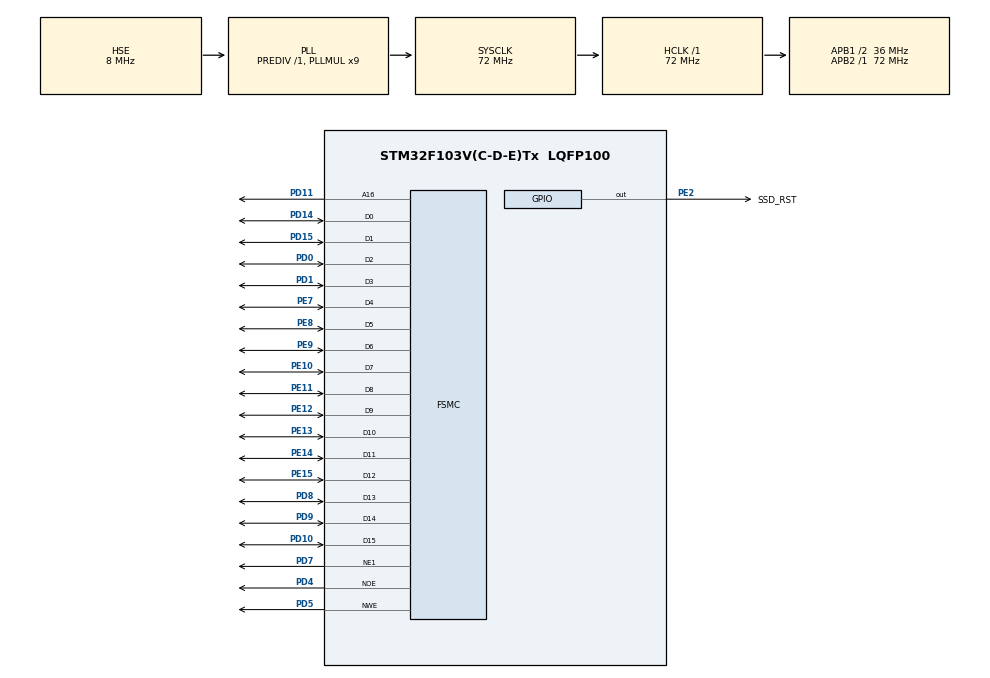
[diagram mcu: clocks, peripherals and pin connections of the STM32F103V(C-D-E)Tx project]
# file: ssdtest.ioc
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Mcu.Family=STM32F1
Mcu.Name=STM32F103V(C-D-E)Tx
Mcu.Package=LQFP100
NVIC.PriorityGroup=NVIC_PRIORITYGROUP_4
OSC_IN.Mode=HSE-External-Oscillator
OSC_IN.Signal=RCC_OSC_IN
OSC_OUT.Mode=HSE-External-Oscillator
OSC_OUT.Signal=RCC_OSC_OUT
PA13.Mode=Serial_Wire
PA13.Signal=SYS_JTMS-SWDIO
PA14.Mode=Serial_Wire
PA14.Signal=SYS_JTCK-SWCLK
PD0.Mode=16b-d1
PD0.Signal=FSMC_D2
PD1.Mode=16b-d1
PD1.Signal=FSMC_D3
PD10.Mode=16b-d1
PD10.Signal=FSMC_D15
PD11.Mode=A16_1
PD11.Signal=FSMC_A16
PD14.Mode=16b-d1
PD14.Signal=FSMC_D0
PD15.Mode=16b-d1
PD15.Signal=FSMC_D1
PD4.Mode=Lcd1
PD4.Signal=FSMC_NOE
PD5.Mode=Lcd1
PD5.Signal=FSMC_NWE
PD7.Mode=NorPsramChipSelect1_1
PD7.Signal=FSMC_NE1
PD8.Mode=16b-d1
PD8.Signal=FSMC_D13
PD9.Mode=16b-d1
PD9.Signal=FSMC_D14
PE10.Mode=16b-d1
PE10.Signal=FSMC_D7
PE11.Mode=16b-d1
PE11.Signal=FSMC_D8
PE12.Mode=16b-d1
PE12.Signal=FSMC_D9
PE13.Mode=16b-d1
PE13.Signal=FSMC_D10
PE14.Mode=16b-d1
PE14.Signal=FSMC_D11
PE15.Mode=16b-d1
PE15.Signal=FSMC_D12
PE2.GPIO_Label=SSD_RST
PE2.Signal=GPIO_Output
PE7.Mode=16b-d1
PE7.Signal=FSMC_D4
PE8.Mode=16b-d1
PE8.Signal=FSMC_D5
PE9.Mode=16b-d1
PE9.Signal=FSMC_D6
ProjectManager.HeapSize=0x200
ProjectManager.StackSize=0x400
ProjectManager.TargetToolchain=MDK-ARM V5
RCC.AHBFreq_Value=72000000
RCC.APB1CLKDivider=RCC_HCLK_DIV2
RCC.APB1Freq_Value=36000000
RCC.APB1TimFreq_Value=72000000
RCC.APB2Freq_Value=72000000
RCC.APB2TimFreq_Value=72000000
RCC.HCLKFreq_Value=72000000
RCC.PLLMUL=RCC_PLL_MUL9
RCC.PLLSourceVirtual=RCC_PLLSOURCE_HSE
RCC.SYSCLKFreq_VALUE=72000000
RCC.SYSCLKSource=RCC_SYSCLKSOURCE_PLLCLK
RCC.USBFreq_Value=72000000
board=custom

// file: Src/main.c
/* USER CODE BEGIN Header */
/**
  ******************************************************************************
  * @file           : main.c
  * @brief          : Main program body
  ******************************************************************************
  * @attention
  *
  * <h2><center>&copy; Copyright (c) 2019 STMicroelectronics.
  * All rights reserved.</center></h2>
  *
  * This software component is licensed by ST under BSD 3-Clause license,
  * the "License"; You may not use this file except in compliance with the
  * License. You may obtain a copy of the License at:
  *                        opensource.org/licenses/BSD-3-Clause
  *
  ******************************************************************************
  */
/* USER CODE END Header */

#include "main.h"

SRAM_HandleTypeDef hsram1;

void SystemClock_Config(void);
static void MX_GPIO_Init(void);
static void MX_FSMC_Init(void);
/* USER CODE BEGIN PFP */
void LCD_clear(uint16_t data);
void STM3210E_LCD_Init(void);
void LcdWriteReg(uint16_t Data);
/* USER CODE END PFP */

int main(void)
{

  /* MCU Configuration--------------------------------------------------------*/

  /* Reset of all peripherals, Initializes the Flash interface and the Systick. */
  HAL_Init();

  /* Configure the system clock */
  SystemClock_Config();

  /* Initialize all configured peripherals */
  MX_GPIO_Init();
  MX_FSMC_Init();
  /* USER CODE BEGIN 2 */
	HAL_GPIO_WritePin(SSD_RST_GPIO_Port,SSD_RST_Pin,0);
	HAL_Delay(100);
	HAL_GPIO_WritePin(SSD_RST_GPIO_Port,SSD_RST_Pin,1);
	HAL_Delay(100);

	STM3210E_LCD_Init();
	LCD_clear(0xf800);

  /* USER CODE END 2 */

  /* Infinite loop */
  while (1)
  {

    /* USER CODE BEGIN 3 */
		LCD_clear(0xf800);
  	HAL_Delay(1000);
  	LCD_clear(0x7e0);
   	HAL_Delay(1000);
		LCD_clear(0x1f);
		HAL_Delay(1000);
//	LcdWriteReg(0x0029);
  }
  /* USER CODE END 3 */
}

void SystemClock_Config(void)
{
  RCC_OscInitTypeDef RCC_OscInitStruct = {0};
  RCC_ClkInitTypeDef RCC_ClkInitStruct = {0};

  /** Initializes the CPU, AHB and APB busses clocks
  */
  RCC_OscInitStruct.OscillatorType = RCC_OSCILLATORTYPE_HSE;
  RCC_OscInitStruct.HSEState = RCC_HSE_ON;
  RCC_OscInitStruct.HSEPredivValue = RCC_HSE_PREDIV_DIV1;
  RCC_OscInitStruct.HSIState = RCC_HSI_ON;
  RCC_OscInitStruct.PLL.PLLState = RCC_PLL_ON;
  RCC_OscInitStruct.PLL.PLLSource = RCC_PLLSOURCE_HSE;
  RCC_OscInitStruct.PLL.PLLMUL = RCC_PLL_MUL9;
  if (HAL_RCC_OscConfig(&RCC_OscInitStruct) != HAL_OK)
  {
    Error_Handler();
  }
  /** Initializes the CPU, AHB and APB busses clocks
  */
  RCC_ClkInitStruct.ClockType = RCC_CLOCKTYPE_HCLK|RCC_CLOCKTYPE_SYSCLK
                              |RCC_CLOCKTYPE_PCLK1|RCC_CLOCKTYPE_PCLK2;
  RCC_ClkInitStruct.SYSCLKSource = RCC_SYSCLKSOURCE_PLLCLK;
  RCC_ClkInitStruct.AHBCLKDivider = RCC_SYSCLK_DIV1;
  RCC_ClkInitStruct.APB1CLKDivider = RCC_HCLK_DIV2;
  RCC_ClkInitStruct.APB2CLKDivider = RCC_HCLK_DIV1;

  if (HAL_RCC_ClockConfig(&RCC_ClkInitStruct, FLASH_LATENCY_2) != HAL_OK)
  {
    Error_Handler();
  }
}

static void MX_GPIO_Init(void)
{
  GPIO_InitTypeDef GPIO_InitStruct = {0};

  /* GPIO Ports Clock Enable */
  __HAL_RCC_GPIOE_CLK_ENABLE();
  __HAL_RCC_GPIOD_CLK_ENABLE();
  __HAL_RCC_GPIOA_CLK_ENABLE();

  /*Configure GPIO pin Output Level */
  HAL_GPIO_WritePin(SSD_RST_GPIO_Port, SSD_RST_Pin, GPIO_PIN_RESET);

  /*Configure GPIO pin : SSD_RST_Pin */
  GPIO_InitStruct.Pin = SSD_RST_Pin;
  GPIO_InitStruct.Mode = GPIO_MODE_OUTPUT_PP;
  GPIO_InitStruct.Pull = GPIO_NOPULL;
  GPIO_InitStruct.Speed = GPIO_SPEED_FREQ_LOW;
  HAL_GPIO_Init(SSD_RST_GPIO_Port, &GPIO_InitStruct);

}

/* FSMC initialization function */
static void MX_FSMC_Init(void)
{

  FSMC_NORSRAM_TimingTypeDef Timing = {0};

  /** Perform the SRAM1 memory initialization sequence
  */
  hsram1.Instance = FSMC_NORSRAM_DEVICE;
  hsram1.Extended = FSMC_NORSRAM_EXTENDED_DEVICE;
  /* hsram1.Init */
  hsram1.Init.NSBank = FSMC_NORSRAM_BANK1;
  hsram1.Init.DataAddressMux = FSMC_DATA_ADDRESS_MUX_DISABLE;
  hsram1.Init.MemoryType = FSMC_MEMORY_TYPE_SRAM;
  hsram1.Init.MemoryDataWidth = FSMC_NORSRAM_MEM_BUS_WIDTH_16;
  hsram1.Init.BurstAccessMode = FSMC_BURST_ACCESS_MODE_DISABLE;
  hsram1.Init.WaitSignalPolarity = FSMC_WAIT_SIGNAL_POLARITY_LOW;
  hsram1.Init.WrapMode = FSMC_WRAP_MODE_DISABLE;
  hsram1.Init.WaitSignalActive = FSMC_WAIT_TIMING_BEFORE_WS;
  hsram1.Init.WriteOperation = FSMC_WRITE_OPERATION_ENABLE;
  hsram1.Init.WaitSignal = FSMC_WAIT_SIGNAL_DISABLE;
  hsram1.Init.ExtendedMode = FSMC_EXTENDED_MODE_DISABLE;
  hsram1.Init.AsynchronousWait = FSMC_ASYNCHRONOUS_WAIT_DISABLE;
  hsram1.Init.WriteBurst = FSMC_WRITE_BURST_DISABLE;
  /* Timing */
  Timing.AddressSetupTime = 0x02;
  Timing.AddressHoldTime = 0xa;
  Timing.DataSetupTime = 0xa;
  Timing.BusTurnAroundDuration = 0;
  Timing.CLKDivision = 0;
  Timing.DataLatency = 0;
  Timing.AccessMode = FSMC_ACCESS_MODE_B;
  /* ExtTiming */

  if (HAL_SRAM_Init(&hsram1, &Timing, NULL) != HAL_OK)
  {
    Error_Handler( );
  }

  /** Disconnect NADV
  */

  __HAL_AFIO_FSMCNADV_DISCONNECTED();

}

/* USER CODE BEGIN 4 */
#define U16 uint16_t
#define U32 uint32_t

U16 driverCode;

#define LCD_DATA_ADDRESS    *(volatile U16*) ((volatile U32)0x60020000)
#define LCD_REG_ADDRESS     *(volatile U16*) ((volatile U32)0x60000000)

static void LcdWriteReg(U16 Data) {
  LCD_REG_ADDRESS = Data;
	//Datareg = Data;
}

/********************************************************************
*
*       LcdWriteData
*
* Function description:
*   Writes a value to a display register
*/
static void LcdWriteData(U16 Data) {
  LCD_DATA_ADDRESS = Data;
}

U16 LCD_X_Read01_16(void) {

	return  LCD_DATA_ADDRESS;
}

static U16 rd_reg (U16 reg) {
  LcdWriteReg(reg);
	HAL_Delay(1);
  return LCD_X_Read01_16();
}

#define  HDP	479  /*长*/
#define  HT		531
#define  HPS	43
#define  LPS	8
#define  HPW	10

#define  VDP	271	 /*宽*/
#define  VT		288
#define  VPS	12
#define  FPS	4
#define  VPW	10

void LCD_clear(uint16_t data)
{
    unsigned int l=800,w;

	LcdWriteReg(0x002A);
	LcdWriteData(0);
	LcdWriteData(0);
	LcdWriteData(HDP>>8);
	LcdWriteData(HDP&0x00ff);
  LcdWriteReg(0x002b);
	LcdWriteData(0);
	LcdWriteData(0);
	LcdWriteData(VDP>>8);
	LcdWriteData(VDP&0x00ff);
	LcdWriteReg(0x002c);

	while(l--)
	{
	    for(w=0;w<480;w++)
		{
          	LcdWriteData(data);
		}
	}
}

void STM3210E_LCD_Init(void){

	LcdWriteReg(0x00E2);
	LcdWriteData(0x0023);
	// Set PLL with OSC = 10MHz (hardware)
    // Multiplier N = 35, VCO (>250MHz)= OSC*(N+1), VCO = 360MHz
	LcdWriteData(0x0002);
	// Divider M = 2, PLL = 360/(M+1) = 120MHz
	LcdWriteData(0x0004);
	// Validate M and N values

	LcdWriteReg(0x00E0);  // PLL enable
	LcdWriteData(0x0001);
	HAL_Delay(1);
	LcdWriteReg(0x00E0);
	LcdWriteData(0x0003);
	HAL_Delay(5);
	LcdWriteReg(0x0001);  // software reset
	HAL_Delay(5);
	LcdWriteReg(0x00E6);	//PLL setting for PCLK, depends on resolution

	//Set LSHIFT freq, i.e. the DCLK with PLL freq 120MHz set previously
	//Typical DCLK for AT070TN92 is 34MHz
	//34MHz = 120MHz*(LCDC_FPR+1)/2^20
	//LCDC_FPR = 300000 (0x0493E0)

	LcdWriteData(0x0004);
	LcdWriteData(0x0093);
	LcdWriteData(0x00e0);

	LcdWriteReg(0x00B0);	//LCD SPECIFICATION
	LcdWriteData(0x0000);
	LcdWriteData(0x0000);
	LcdWriteData((HDP>>8)&0X00FF);  //Set HDP
	LcdWriteData(HDP&0X00FF);
  LcdWriteData((VDP>>8)&0X00FF);  //Set VDP
	LcdWriteData(VDP&0X00FF);
  LcdWriteData(0x0000);

	LcdWriteReg(0x00B4);	//HSYNC
	LcdWriteData((HT>>8)&0X00FF);  //Set HT
	LcdWriteData(HT&0X00FF);
	LcdWriteData((HPS>>8)&0X00FF);  //Set HPS
	LcdWriteData(HPS&0X00FF);
	LcdWriteData(HPW);			   //Set HPW
	LcdWriteData((LPS>>8)&0X00FF);  //Set HPS
	LcdWriteData(LPS&0X00FF);
	LcdWriteData(0x0000);

	LcdWriteReg(0x00B6);	//VSYNC
	LcdWriteData((VT>>8)&0X00FF);   //Set VT
	LcdWriteData(VT&0X00FF);
	LcdWriteData((VPS>>8)&0X00FF);  //Set VPS
	LcdWriteData(VPS&0X00FF);
	LcdWriteData(VPW);			   //Set VPW
	LcdWriteData((FPS>>8)&0X00FF);  //Set FPS
	LcdWriteData(FPS&0X00FF);

	LcdWriteReg(0x00BA);
	LcdWriteData(0x000f);//0x000F);    //GPIO[3:0] out 1

	LcdWriteReg(0x00B8);
	LcdWriteData(0x000f);    //GPIO3=input, GPIO[2:0]=output
	LcdWriteData(0x0001);    //GPIO0 normal

	LcdWriteReg(0x0036); //rotation
	LcdWriteData(0x0000);

	LcdWriteReg(0x00F0); //pixel data interface
	LcdWriteData(0x0003);

	HAL_Delay(5);

	//LCD_clear(0x0000);
	LcdWriteReg(0x0029); //display on

	LcdWriteReg(0x00BE); //set PWM for B/L
	LcdWriteData(0x0006);
	//LcdWriteData(0x0008);
	LcdWriteData(0x0080);
	//LcdWriteData(0x00f0);

	LcdWriteData(0x0001);
	LcdWriteData(0x00f0);
	LcdWriteData(0x0000);
	LcdWriteData(0x0000);

	LcdWriteReg(0x00d0);//设置动态背光控制配置
	LcdWriteData(0x000d);

}
/* USER CODE END 4 */

void Error_Handler(void)
{
}

/************************ (C) COPYRIGHT STMicroelectronics *****END OF FILE****/
